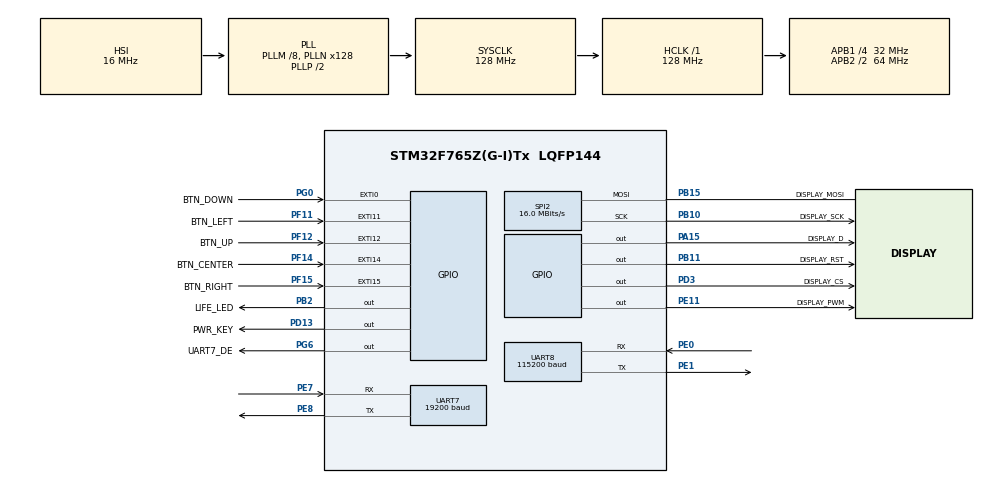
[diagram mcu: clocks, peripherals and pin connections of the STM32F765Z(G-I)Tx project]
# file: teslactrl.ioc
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Dma.MEMTOMEM.1.Direction=DMA_MEMORY_TO_MEMORY
Dma.MEMTOMEM.1.FIFOMode=DMA_FIFOMODE_ENABLE
Dma.MEMTOMEM.1.FIFOThreshold=DMA_FIFO_THRESHOLD_FULL
Dma.MEMTOMEM.1.Instance=DMA2_Stream0
Dma.MEMTOMEM.1.MemBurst=DMA_MBURST_SINGLE
Dma.MEMTOMEM.1.MemDataAlignment=DMA_MDATAALIGN_BYTE
Dma.MEMTOMEM.1.MemInc=DMA_MINC_ENABLE
Dma.MEMTOMEM.1.Mode=DMA_NORMAL
Dma.MEMTOMEM.1.PeriphBurst=DMA_PBURST_SINGLE
Dma.MEMTOMEM.1.PeriphDataAlignment=DMA_PDATAALIGN_BYTE
Dma.MEMTOMEM.1.PeriphInc=DMA_PINC_ENABLE
Dma.MEMTOMEM.1.Priority=DMA_PRIORITY_LOW
Dma.Request0=SPI2_TX
Dma.Request1=MEMTOMEM
Dma.SPI2_TX.0.Direction=DMA_MEMORY_TO_PERIPH
Dma.SPI2_TX.0.FIFOMode=DMA_FIFOMODE_ENABLE
Dma.SPI2_TX.0.FIFOThreshold=DMA_FIFO_THRESHOLD_FULL
Dma.SPI2_TX.0.Instance=DMA1_Stream4
Dma.SPI2_TX.0.MemBurst=DMA_MBURST_SINGLE
Dma.SPI2_TX.0.MemDataAlignment=DMA_MDATAALIGN_HALFWORD
Dma.SPI2_TX.0.MemInc=DMA_MINC_ENABLE
Dma.SPI2_TX.0.Mode=DMA_CIRCULAR
Dma.SPI2_TX.0.PeriphBurst=DMA_PBURST_SINGLE
Dma.SPI2_TX.0.PeriphDataAlignment=DMA_PDATAALIGN_HALFWORD
Dma.SPI2_TX.0.PeriphInc=DMA_PINC_DISABLE
Dma.SPI2_TX.0.Priority=DMA_PRIORITY_LOW
FREERTOS.Queues01=guiQueue,10,tesla,0,Dynamic,NULL,NULL
FREERTOS.Tasks01=hardwareTask,24,2048,StartDefaultTask,Default,NULL,Dynamic,NULL,NULL;touchGFXTask,24,10240,StartTouchGFX,Default,NULL,Dynamic,NULL,NULL;queueRecvTask,8,128,StartqueueRecv,Default,NULL,Dynamic,NULL,NULL
FREERTOS.Timers01=buttonTimmer,buttonTimmerCallback,osTimerOnce,Default,NULL,Dynamic,NULL
FREERTOS.configTOTAL_HEAP_SIZE=65536
FREERTOS.configUSE_NEWLIB_REENTRANT=1
Mcu.Family=STM32F7
Mcu.Name=STM32F765Z(G-I)Tx
Mcu.Package=LQFP144
NVIC.DMA1_Stream4_IRQn=true\:5\:0\:false\:false\:true\:true\:false\:true
NVIC.DMA2_Stream0_IRQn=true\:5\:0\:true\:false\:true\:false\:true\:true
NVIC.EXTI0_IRQn=true\:5\:0\:false\:false\:true\:true\:true\:true
NVIC.EXTI15_10_IRQn=true\:5\:0\:false\:false\:true\:true\:true\:true
NVIC.PriorityGroup=NVIC_PRIORITYGROUP_4
NVIC.TIM1_TRG_COM_TIM11_IRQn=true\:5\:0\:false\:false\:true\:true\:true\:true
NVIC.TIM6_DAC_IRQn=true\:15\:0\:false\:false\:true\:false\:false\:true
NVIC.TIM8_UP_TIM13_IRQn=true\:5\:0\:false\:false\:true\:true\:true\:true
NVIC.TimeBase=TIM6_DAC_IRQn
NVIC.TimeBaseIP=TIM6
NVIC.UART8_IRQn=true\:5\:0\:false\:false\:true\:true\:true\:true
PA13.Mode=Trace_Asynchronous_SW
PA13.Signal=SYS_JTMS-SWDIO
PA14.Mode=Trace_Asynchronous_SW
PA14.Signal=SYS_JTCK-SWCLK
PA15.GPIO_Label=DISPLAY_D
PA15.Signal=GPIO_Output
PB10.GPIO_Label=DISPLAY_SCK
PB10.Mode=Simplex_Bidirectional_Master
PB10.Signal=SPI2_SCK
PB11.GPIO_Label=DISPLAY_RST
PB11.Signal=GPIO_Output
PB15.GPIO_Label=DISPLAY_MOSI
PB15.Mode=Simplex_Bidirectional_Master
PB15.Signal=SPI2_MOSI
PB2.GPIO_Label=LIFE_LED
PB2.Signal=GPIO_Output
PB3.Mode=Trace_Asynchronous_SW
PB3.Signal=SYS_JTDO-SWO
PD13.GPIO_Label=PWR_KEY
PD13.Signal=GPIO_Output
PD3.GPIO_Label=DISPLAY_CS
PD3.GPIO_Speed=GPIO_SPEED_FREQ_LOW
PD3.Signal=GPIO_Output
PE0.Mode=Asynchronous
PE0.Signal=UART8_RX
PE1.Mode=Asynchronous
PE1.Signal=UART8_TX
PE11.GPIO_Label=DISPLAY_PWM
PE11.Signal=GPIO_Output
PE7.Mode=Asynchronous
PE7.Signal=UART7_RX
PE8.Mode=Asynchronous
PE8.Signal=UART7_TX
PF11.GPIO_Label=BTN_LEFT
PF11.GPIO_ModeDefaultEXTI=GPIO_MODE_IT_FALLING
PF11.GPIO_PuPd=GPIO_PULLUP
PF11.Signal=GPXTI11
PF12.GPIO_Label=BTN_UP
PF12.GPIO_ModeDefaultEXTI=GPIO_MODE_IT_FALLING
PF12.GPIO_PuPd=GPIO_PULLUP
PF12.Signal=GPXTI12
PF14.GPIO_Label=BTN_CENTER
PF14.GPIO_ModeDefaultEXTI=GPIO_MODE_IT_FALLING
PF14.GPIO_PuPd=GPIO_PULLUP
PF14.Signal=GPXTI14
PF15.GPIO_Label=BTN_RIGHT
PF15.GPIO_ModeDefaultEXTI=GPIO_MODE_IT_FALLING
PF15.GPIO_PuPd=GPIO_PULLUP
PF15.Signal=GPXTI15
PG0.GPIO_Label=BTN_DOWN
PG0.GPIO_ModeDefaultEXTI=GPIO_MODE_IT_FALLING
PG0.GPIO_PuPd=GPIO_PULLUP
PG0.Signal=GPXTI0
PG6.GPIO_Label=UART7_DE
PG6.Signal=GPIO_Output
ProjectManager.HeapSize=0x200
ProjectManager.StackSize=0x400
ProjectManager.TargetToolchain=STM32CubeIDE
RCC.AHBFreq_Value=128000000
RCC.APB1CLKDivider=RCC_HCLK_DIV4
RCC.APB1Freq_Value=32000000
RCC.APB1TimFreq_Value=64000000
RCC.APB2CLKDivider=RCC_HCLK_DIV2
RCC.APB2Freq_Value=64000000
RCC.APB2TimFreq_Value=128000000
RCC.CortexFreq_Value=128000000
RCC.HCLKFreq_Value=128000000
RCC.HSE_VALUE=25000000
RCC.HSI_VALUE=16000000
RCC.LSE_VALUE=32768
RCC.PLLM=8
RCC.PLLN=128
RCC.SYSCLKFreq_VALUE=128000000
RCC.SYSCLKSource=RCC_SYSCLKSOURCE_PLLCLK
RCC.USBFreq_Value=128000000
RCC.VCOOutputFreq_Value=256000000
SPI2.BaudRatePrescaler=SPI_BAUDRATEPRESCALER_2
SPI2.CLKPhase=SPI_PHASE_1EDGE
SPI2.CLKPolarity=SPI_POLARITY_LOW
SPI2.CalculateBaudRate=16.0 MBits/s
SPI2.DataSize=SPI_DATASIZE_8BIT
SPI2.Direction=SPI_DIRECTION_1LINE
SPI2.FirstBit=SPI_FIRSTBIT_MSB
SPI2.Mode=SPI_MODE_MASTER
SPI2.VirtualType=VM_MASTER
STMicroelectronics.X-CUBE-TOUCHGFX.4.18.0.ApplicationCcGraphicsJjApplication=TouchGFXOoGenerator
STMicroelectronics.X-CUBE-TOUCHGFX.4.18.0.tgfx_buffering_strategy=Double
STMicroelectronics.X-CUBE-TOUCHGFX.4.18.0.tgfx_custom_height=128
STMicroelectronics.X-CUBE-TOUCHGFX.4.18.0.tgfx_custom_width=160
STMicroelectronics.X-CUBE-TOUCHGFX.4.18.0.tgfx_hardware_accelerator=dma_none
STMicroelectronics.X-CUBE-TOUCHGFX.4.18.0.tgfx_location=Allocate
STMicroelectronics.X-CUBE-TOUCHGFX.4.18.0.tgfx_oswrapper=CMSIS V2
STMicroelectronics.X-CUBE-TOUCHGFX.4.18.0_IsPackSelfContextualization=true
TIM11.Period=3999
TIM11.Prescaler=6399
TIM13.AutoReloadPreload=TIM_AUTORELOAD_PRELOAD_ENABLE
TIM13.Period=999
TIM13.Prescaler=6399
UART7.BaudRate=19200
UART8.BaudRate=115200
VP_CRC_VS_CRC.Mode=CRC_Activate
VP_FREERTOS_VS_CMSIS_V2.Mode=CMSIS_V2
VP_STMicroelectronics.X-CUBE-TOUCHGFX_VS_GraphicsJjApplication_4.18.0.Mode=GraphicsJjApplication
VP_SYS_VS_tim6.Mode=TIM6
VP_TIM11_VS_ClockSourceINT.Mode=Enable_Timer
VP_TIM13_VS_ClockSourceINT.Mode=Enable_Timer
board=custom

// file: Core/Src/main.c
/* USER CODE BEGIN Header */
/**
  ******************************************************************************
  * @file           : main.c
  * @brief          : Main program body
  ******************************************************************************
  * @attention
  *
  * <h2><center>&copy; Copyright (c) 2021 STMicroelectronics.
  * All rights reserved.</center></h2>
  *
  * This software component is licensed by ST under Ultimate Liberty license
  * SLA0044, the "License"; You may not use this file except in compliance with
  * the License. You may obtain a copy of the License at:
  *                             www.st.com/SLA0044
  *
  ******************************************************************************
  */
/* USER CODE END Header */
#include "main.h"
#include "cmsis_os.h"
#include "app_touchgfx.h"

/* USER CODE BEGIN Includes */
#include "gsm.h"
#include "teslactrl.h"
#include "ili9163.h"
#include "buttons.h"
#include "app.h"
/* USER CODE END Includes */

CRC_HandleTypeDef hcrc;

SPI_HandleTypeDef hspi2;
DMA_HandleTypeDef hdma_spi2_tx;

TIM_HandleTypeDef htim11;
TIM_HandleTypeDef htim13;

UART_HandleTypeDef huart7;
UART_HandleTypeDef huart8;

DMA_HandleTypeDef hdma_memtomem_dma2_stream0;
/* Definitions for hardwareTask */
osThreadId_t hardwareTaskHandle;
const osThreadAttr_t hardwareTask_attributes = {
  .name = "hardwareTask",
  .stack_size = 2048 * 4,
  .priority = (osPriority_t) osPriorityNormal,
};
/* Definitions for touchGFXTask */
osThreadId_t touchGFXTaskHandle;
const osThreadAttr_t touchGFXTask_attributes = {
  .name = "touchGFXTask",
  .stack_size = 10240 * 4,
  .priority = (osPriority_t) osPriorityNormal,
};
/* Definitions for queueRecvTask */
osThreadId_t queueRecvTaskHandle;
const osThreadAttr_t queueRecvTask_attributes = {
  .name = "queueRecvTask",
  .stack_size = 128 * 4,
  .priority = (osPriority_t) osPriorityLow,
};
/* Definitions for guiQueue */
osMessageQueueId_t guiQueueHandle;
const osMessageQueueAttr_t guiQueue_attributes = {
  .name = "guiQueue"
};
/* Definitions for buttonTimmer */
osTimerId_t buttonTimmerHandle;
const osTimerAttr_t buttonTimmer_attributes = {
  .name = "buttonTimmer"
};

void SystemClock_Config(void);
static void MX_GPIO_Init(void);
static void MX_DMA_Init(void);
static void MX_UART7_Init(void);
static void MX_UART8_Init(void);
static void MX_SPI2_Init(void);
static void MX_CRC_Init(void);
static void MX_TIM13_Init(void);
static void MX_TIM11_Init(void);
void StartDefaultTask(void *argument);
void StartTouchGFX(void *argument);
void StartqueueRecv(void *argument);
void buttonTimmerCallback(void *argument);

int main(void)
{

  /* MCU Configuration--------------------------------------------------------*/

  /* Reset of all peripherals, Initializes the Flash interface and the Systick. */
  HAL_Init();

  /* Configure the system clock */
  SystemClock_Config();

  /* Initialize all configured peripherals */
  MX_GPIO_Init();
  MX_DMA_Init();
  MX_UART7_Init();
  MX_UART8_Init();
  MX_SPI2_Init();
  MX_CRC_Init();
  MX_TIM13_Init();
  MX_TIM11_Init();
  MX_TouchGFX_Init();
  /* USER CODE BEGIN 2 */
  tesla_handler tesla;
  tesla_init(&tesla);

  /* Filling out ILI9163 controller specifics */
  ili_handler ili;
  ili.port = &hspi2;
  ili.dma = &hdma_memtomem_dma2_stream0;
  ili.csPort = GPIOD;
  ili.dPort = DISPLAY_D_GPIO_Port;
  ili.rstPort = GPIOB;
  ili.csPin = DISPLAY_CS_Pin;
  ili.dPin = DISPLAY_D_Pin;
  ili.rstPin = DISPLAY_RST_Pin;
  ILI9163_initDriver(&ili);
  ILI9163_init(0);

  app_handler app;
  app.appState = state_cellStatusDisplay;
  app.cellNumber = 0;
  aHandler = &app;
  /* Button controller init */
  button_handler buttons;
  buttons.antiGlitchTimer = &htim11;
  buttonsInit(&buttons);

  int error = 0;
  /* USER CODE END 2 */

  /* Init scheduler */
  osKernelInitialize();

  /* Create the timer(s) */
  /* creation of buttonTimmer */
  buttonTimmerHandle = osTimerNew(buttonTimmerCallback, osTimerOnce, NULL, &buttonTimmer_attributes);

  /* Create the queue(s) */
  /* creation of guiQueue */
  guiQueueHandle = osMessageQueueNew (10, sizeof(tesla), &guiQueue_attributes);

  /* Create the thread(s) */
  /* creation of hardwareTask */
  hardwareTaskHandle = osThreadNew(StartDefaultTask, NULL, &hardwareTask_attributes);

  /* creation of touchGFXTask */
  touchGFXTaskHandle = osThreadNew(StartTouchGFX, NULL, &touchGFXTask_attributes);

  /* creation of queueRecvTask */
  queueRecvTaskHandle = osThreadNew(StartqueueRecv, NULL, &queueRecvTask_attributes);

  /* Start scheduler */
  osKernelStart();

  /* We should never get here as control is now taken by the scheduler */
  /* Infinite loop */
  while (1)
  {

  }
}

void SystemClock_Config(void)
{
  RCC_OscInitTypeDef RCC_OscInitStruct = {0};
  RCC_ClkInitTypeDef RCC_ClkInitStruct = {0};
  RCC_PeriphCLKInitTypeDef PeriphClkInitStruct = {0};

  /** Configure the main internal regulator output voltage
  */
  __HAL_RCC_PWR_CLK_ENABLE();
  __HAL_PWR_VOLTAGESCALING_CONFIG(PWR_REGULATOR_VOLTAGE_SCALE3);
  /** Initializes the RCC Oscillators according to the specified parameters
  * in the RCC_OscInitTypeDef structure.
  */
  RCC_OscInitStruct.OscillatorType = RCC_OSCILLATORTYPE_HSI;
  RCC_OscInitStruct.HSIState = RCC_HSI_ON;
  RCC_OscInitStruct.HSICalibrationValue = RCC_HSICALIBRATION_DEFAULT;
  RCC_OscInitStruct.PLL.PLLState = RCC_PLL_ON;
  RCC_OscInitStruct.PLL.PLLSource = RCC_PLLSOURCE_HSI;
  RCC_OscInitStruct.PLL.PLLM = 8;
  RCC_OscInitStruct.PLL.PLLN = 128;
  RCC_OscInitStruct.PLL.PLLP = RCC_PLLP_DIV2;
  RCC_OscInitStruct.PLL.PLLQ = 2;
  RCC_OscInitStruct.PLL.PLLR = 2;
  if (HAL_RCC_OscConfig(&RCC_OscInitStruct) != HAL_OK)
  {
    Error_Handler();
  }
  /** Initializes the CPU, AHB and APB buses clocks
  */
  RCC_ClkInitStruct.ClockType = RCC_CLOCKTYPE_HCLK|RCC_CLOCKTYPE_SYSCLK
                              |RCC_CLOCKTYPE_PCLK1|RCC_CLOCKTYPE_PCLK2;
  RCC_ClkInitStruct.SYSCLKSource = RCC_SYSCLKSOURCE_PLLCLK;
  RCC_ClkInitStruct.AHBCLKDivider = RCC_SYSCLK_DIV1;
  RCC_ClkInitStruct.APB1CLKDivider = RCC_HCLK_DIV4;
  RCC_ClkInitStruct.APB2CLKDivider = RCC_HCLK_DIV2;

  if (HAL_RCC_ClockConfig(&RCC_ClkInitStruct, FLASH_LATENCY_4) != HAL_OK)
  {
    Error_Handler();
  }
  PeriphClkInitStruct.PeriphClockSelection = RCC_PERIPHCLK_UART7|RCC_PERIPHCLK_UART8;
  PeriphClkInitStruct.Uart7ClockSelection = RCC_UART7CLKSOURCE_PCLK1;
  PeriphClkInitStruct.Uart8ClockSelection = RCC_UART8CLKSOURCE_PCLK1;
  if (HAL_RCCEx_PeriphCLKConfig(&PeriphClkInitStruct) != HAL_OK)
  {
    Error_Handler();
  }
}

static void MX_CRC_Init(void)
{

  hcrc.Instance = CRC;
  hcrc.Init.DefaultPolynomialUse = DEFAULT_POLYNOMIAL_ENABLE;
  hcrc.Init.DefaultInitValueUse = DEFAULT_INIT_VALUE_ENABLE;
  hcrc.Init.InputDataInversionMode = CRC_INPUTDATA_INVERSION_NONE;
  hcrc.Init.OutputDataInversionMode = CRC_OUTPUTDATA_INVERSION_DISABLE;
  hcrc.InputDataFormat = CRC_INPUTDATA_FORMAT_BYTES;
  if (HAL_CRC_Init(&hcrc) != HAL_OK)
  {
    Error_Handler();
  }

}

static void MX_SPI2_Init(void)
{

  /* SPI2 parameter configuration*/
  hspi2.Instance = SPI2;
  hspi2.Init.Mode = SPI_MODE_MASTER;
  hspi2.Init.Direction = SPI_DIRECTION_1LINE;
  hspi2.Init.DataSize = SPI_DATASIZE_8BIT;
  hspi2.Init.CLKPolarity = SPI_POLARITY_LOW;
  hspi2.Init.CLKPhase = SPI_PHASE_1EDGE;
  hspi2.Init.NSS = SPI_NSS_SOFT;
  hspi2.Init.BaudRatePrescaler = SPI_BAUDRATEPRESCALER_2;
  hspi2.Init.FirstBit = SPI_FIRSTBIT_MSB;
  hspi2.Init.TIMode = SPI_TIMODE_DISABLE;
  hspi2.Init.CRCCalculation = SPI_CRCCALCULATION_DISABLE;
  hspi2.Init.CRCPolynomial = 7;
  hspi2.Init.CRCLength = SPI_CRC_LENGTH_DATASIZE;
  hspi2.Init.NSSPMode = SPI_NSS_PULSE_ENABLE;
  if (HAL_SPI_Init(&hspi2) != HAL_OK)
  {
    Error_Handler();
  }

}

static void MX_TIM11_Init(void)
{

  htim11.Instance = TIM11;
  htim11.Init.Prescaler = 6399;
  htim11.Init.CounterMode = TIM_COUNTERMODE_UP;
  htim11.Init.Period = 3999;
  htim11.Init.ClockDivision = TIM_CLOCKDIVISION_DIV1;
  htim11.Init.AutoReloadPreload = TIM_AUTORELOAD_PRELOAD_DISABLE;
  if (HAL_TIM_Base_Init(&htim11) != HAL_OK)
  {
    Error_Handler();
  }

}

static void MX_TIM13_Init(void)
{

  htim13.Instance = TIM13;
  htim13.Init.Prescaler = 6399;
  htim13.Init.CounterMode = TIM_COUNTERMODE_UP;
  htim13.Init.Period = 999;
  htim13.Init.ClockDivision = TIM_CLOCKDIVISION_DIV1;
  htim13.Init.AutoReloadPreload = TIM_AUTORELOAD_PRELOAD_ENABLE;
  if (HAL_TIM_Base_Init(&htim13) != HAL_OK)
  {
    Error_Handler();
  }
  /* USER CODE BEGIN TIM13_Init 2 */
  HAL_TIM_Base_Start_IT(&htim13);
  /* USER CODE END TIM13_Init 2 */

}

static void MX_UART7_Init(void)
{

  huart7.Instance = UART7;
  huart7.Init.BaudRate = 19200;
  huart7.Init.WordLength = UART_WORDLENGTH_8B;
  huart7.Init.StopBits = UART_STOPBITS_1;
  huart7.Init.Parity = UART_PARITY_NONE;
  huart7.Init.Mode = UART_MODE_TX_RX;
  huart7.Init.HwFlowCtl = UART_HWCONTROL_NONE;
  huart7.Init.OverSampling = UART_OVERSAMPLING_16;
  huart7.Init.OneBitSampling = UART_ONE_BIT_SAMPLE_DISABLE;
  huart7.AdvancedInit.AdvFeatureInit = UART_ADVFEATURE_NO_INIT;
  if (HAL_UART_Init(&huart7) != HAL_OK)
  {
    Error_Handler();
  }

}

static void MX_UART8_Init(void)
{

  huart8.Instance = UART8;
  huart8.Init.BaudRate = 115200;
  huart8.Init.WordLength = UART_WORDLENGTH_8B;
  huart8.Init.StopBits = UART_STOPBITS_1;
  huart8.Init.Parity = UART_PARITY_NONE;
  huart8.Init.Mode = UART_MODE_TX_RX;
  huart8.Init.HwFlowCtl = UART_HWCONTROL_NONE;
  huart8.Init.OverSampling = UART_OVERSAMPLING_16;
  huart8.Init.OneBitSampling = UART_ONE_BIT_SAMPLE_DISABLE;
  huart8.AdvancedInit.AdvFeatureInit = UART_ADVFEATURE_NO_INIT;
  if (HAL_UART_Init(&huart8) != HAL_OK)
  {
    Error_Handler();
  }

}

static void MX_DMA_Init(void)
{

  /* DMA controller clock enable */
  __HAL_RCC_DMA1_CLK_ENABLE();
  __HAL_RCC_DMA2_CLK_ENABLE();

  /* Configure DMA request hdma_memtomem_dma2_stream0 on DMA2_Stream0 */
  hdma_memtomem_dma2_stream0.Instance = DMA2_Stream0;
  hdma_memtomem_dma2_stream0.Init.Channel = DMA_CHANNEL_0;
  hdma_memtomem_dma2_stream0.Init.Direction = DMA_MEMORY_TO_MEMORY;
  hdma_memtomem_dma2_stream0.Init.PeriphInc = DMA_PINC_ENABLE;
  hdma_memtomem_dma2_stream0.Init.MemInc = DMA_MINC_ENABLE;
  hdma_memtomem_dma2_stream0.Init.PeriphDataAlignment = DMA_PDATAALIGN_BYTE;
  hdma_memtomem_dma2_stream0.Init.MemDataAlignment = DMA_MDATAALIGN_BYTE;
  hdma_memtomem_dma2_stream0.Init.Mode = DMA_NORMAL;
  hdma_memtomem_dma2_stream0.Init.Priority = DMA_PRIORITY_LOW;
  hdma_memtomem_dma2_stream0.Init.FIFOMode = DMA_FIFOMODE_ENABLE;
  hdma_memtomem_dma2_stream0.Init.FIFOThreshold = DMA_FIFO_THRESHOLD_FULL;
  hdma_memtomem_dma2_stream0.Init.MemBurst = DMA_MBURST_SINGLE;
  hdma_memtomem_dma2_stream0.Init.PeriphBurst = DMA_PBURST_SINGLE;
  if (HAL_DMA_Init(&hdma_memtomem_dma2_stream0) != HAL_OK)
  {
    Error_Handler( );
  }

  /* DMA interrupt init */
  /* DMA1_Stream4_IRQn interrupt configuration */
  HAL_NVIC_SetPriority(DMA1_Stream4_IRQn, 5, 0);
  HAL_NVIC_EnableIRQ(DMA1_Stream4_IRQn);
  /* DMA2_Stream0_IRQn interrupt configuration */
  HAL_NVIC_SetPriority(DMA2_Stream0_IRQn, 5, 0);
  HAL_NVIC_EnableIRQ(DMA2_Stream0_IRQn);

}

static void MX_GPIO_Init(void)
{
  GPIO_InitTypeDef GPIO_InitStruct = {0};

  /* GPIO Ports Clock Enable */
  __HAL_RCC_GPIOB_CLK_ENABLE();
  __HAL_RCC_GPIOF_CLK_ENABLE();
  __HAL_RCC_GPIOG_CLK_ENABLE();
  __HAL_RCC_GPIOE_CLK_ENABLE();
  __HAL_RCC_GPIOD_CLK_ENABLE();
  __HAL_RCC_GPIOA_CLK_ENABLE();

  /*Configure GPIO pin Output Level */
  HAL_GPIO_WritePin(GPIOB, LIFE_LED_Pin|DISPLAY_RST_Pin, GPIO_PIN_RESET);

  /*Configure GPIO pin Output Level */
  HAL_GPIO_WritePin(DISPLAY_PWM_GPIO_Port, DISPLAY_PWM_Pin, GPIO_PIN_RESET);

  /*Configure GPIO pin Output Level */
  HAL_GPIO_WritePin(GPIOD, PWR_KEY_Pin|DISPLAY_CS_Pin, GPIO_PIN_RESET);

  /*Configure GPIO pin Output Level */
  HAL_GPIO_WritePin(UART7_DE_GPIO_Port, UART7_DE_Pin, GPIO_PIN_RESET);

  /*Configure GPIO pin Output Level */
  HAL_GPIO_WritePin(DISPLAY_D_GPIO_Port, DISPLAY_D_Pin, GPIO_PIN_RESET);

  /*Configure GPIO pins : LIFE_LED_Pin DISPLAY_RST_Pin */
  GPIO_InitStruct.Pin = LIFE_LED_Pin|DISPLAY_RST_Pin;
  GPIO_InitStruct.Mode = GPIO_MODE_OUTPUT_PP;
  GPIO_InitStruct.Pull = GPIO_NOPULL;
  GPIO_InitStruct.Speed = GPIO_SPEED_FREQ_LOW;
  HAL_GPIO_Init(GPIOB, &GPIO_InitStruct);

  /*Configure GPIO pins : BTN_LEFT_Pin BTN_UP_Pin BTN_CENTER_Pin BTN_RIGHT_Pin */
  GPIO_InitStruct.Pin = BTN_LEFT_Pin|BTN_UP_Pin|BTN_CENTER_Pin|BTN_RIGHT_Pin;
  GPIO_InitStruct.Mode = GPIO_MODE_IT_FALLING;
  GPIO_InitStruct.Pull = GPIO_PULLUP;
  HAL_GPIO_Init(GPIOF, &GPIO_InitStruct);

  /*Configure GPIO pin : BTN_DOWN_Pin */
  GPIO_InitStruct.Pin = BTN_DOWN_Pin;
  GPIO_InitStruct.Mode = GPIO_MODE_IT_FALLING;
  GPIO_InitStruct.Pull = GPIO_PULLUP;
  HAL_GPIO_Init(BTN_DOWN_GPIO_Port, &GPIO_InitStruct);

  /*Configure GPIO pin : DISPLAY_PWM_Pin */
  GPIO_InitStruct.Pin = DISPLAY_PWM_Pin;
  GPIO_InitStruct.Mode = GPIO_MODE_OUTPUT_PP;
  GPIO_InitStruct.Pull = GPIO_NOPULL;
  GPIO_InitStruct.Speed = GPIO_SPEED_FREQ_LOW;
  HAL_GPIO_Init(DISPLAY_PWM_GPIO_Port, &GPIO_InitStruct);

  /*Configure GPIO pins : PWR_KEY_Pin DISPLAY_CS_Pin */
  GPIO_InitStruct.Pin = PWR_KEY_Pin|DISPLAY_CS_Pin;
  GPIO_InitStruct.Mode = GPIO_MODE_OUTPUT_PP;
  GPIO_InitStruct.Pull = GPIO_NOPULL;
  GPIO_InitStruct.Speed = GPIO_SPEED_FREQ_LOW;
  HAL_GPIO_Init(GPIOD, &GPIO_InitStruct);

  /*Configure GPIO pin : UART7_DE_Pin */
  GPIO_InitStruct.Pin = UART7_DE_Pin;
  GPIO_InitStruct.Mode = GPIO_MODE_OUTPUT_PP;
  GPIO_InitStruct.Pull = GPIO_NOPULL;
  GPIO_InitStruct.Speed = GPIO_SPEED_FREQ_LOW;
  HAL_GPIO_Init(UART7_DE_GPIO_Port, &GPIO_InitStruct);

  /*Configure GPIO pin : DISPLAY_D_Pin */
  GPIO_InitStruct.Pin = DISPLAY_D_Pin;
  GPIO_InitStruct.Mode = GPIO_MODE_OUTPUT_PP;
  GPIO_InitStruct.Pull = GPIO_NOPULL;
  GPIO_InitStruct.Speed = GPIO_SPEED_FREQ_LOW;
  HAL_GPIO_Init(DISPLAY_D_GPIO_Port, &GPIO_InitStruct);

  /* EXTI interrupt init*/
  HAL_NVIC_SetPriority(EXTI0_IRQn, 5, 0);
  HAL_NVIC_EnableIRQ(EXTI0_IRQn);

  HAL_NVIC_SetPriority(EXTI15_10_IRQn, 5, 0);
  HAL_NVIC_EnableIRQ(EXTI15_10_IRQn);

}

/* USER CODE BEGIN 4 */
void touchgfxSignalVSync(void);
/* USER CODE END 4 */

void StartDefaultTask(void *argument)
{
  /* USER CODE BEGIN 5 */
  uint16_t val = 0;
  osStatus_t stat;
  /* Infinite loop */
	while(1)
	{
		for(int i = 0; i < sizeof(tHandler->cellCapacities) / sizeof(tHandler->cellCapacities[0]); i++)
		{
			tHandler->cellCapacities[i] = val;
		}
		for(int i = 0; i < sizeof(tHandler->cellTemps) / sizeof(tHandler->cellTemps[0]); i++)
		{
			tHandler->cellTemps[i] = val;
		}
		for(int i = 0; i < sizeof(tHandler->cellVoltages) / sizeof(tHandler->cellVoltages[0]); i++)
		{
			tHandler->cellVoltages[i] = val;
		}
		for(int i = 0; i < sizeof(tHandler->chargerStats) / sizeof(tHandler->chargerStats[0]); i++)
		{
			tHandler->chargerStats[i] = val;
		}
		stat = osMessageQueuePut(guiQueueHandle, tHandler, 0, 0);
		val++;
		osDelay(1000);
	}
  /* USER CODE END 5 */
}

void StartTouchGFX(void *argument)
{
  /* USER CODE BEGIN StartTouchGFX */
  MX_TouchGFX_Process();
  /* Infinite loop */
  for(;;)
  {
    osDelay(1);
  }
  /* USER CODE END StartTouchGFX */
}

void StartqueueRecv(void *argument)
{
  /* USER CODE BEGIN StartqueueRecv */
  uint16_t msg = 0;
  osStatus_t stat;
  /* Infinite loop */
  for(;;)
  {

    osDelay(1);
  }
  /* USER CODE END StartqueueRecv */
}

/* buttonTimmerCallback function */
void buttonTimmerCallback(void *argument)
{
}

void HAL_TIM_PeriodElapsedCallback(TIM_HandleTypeDef *htim)
{
  if (htim->Instance == TIM6) {
    HAL_IncTick();
  }
  /* USER CODE BEGIN Callback 1 */
  if (htim->Instance == TIM13) {
	  //uint8_t temp = osSemaphoreGetCount(vsyncSphrHandle);
//	  if(temp == 1)
//	  {
		touchgfxSignalVSync();
//	  }
  	  HAL_GPIO_TogglePin(LIFE_LED_GPIO_Port, LIFE_LED_Pin);
  }

  if(htim->Instance == TIM11)
  {
	  bHandler->timerFlag = 0;
	  HAL_TIM_Base_Stop_IT(bHandler->antiGlitchTimer);
  }
  /* USER CODE END Callback 1 */
}

void Error_Handler(void)
{
  __disable_irq();
  while (1)
  {
  }
}

/************************ (C) COPYRIGHT STMicroelectronics *****END OF FILE****/
